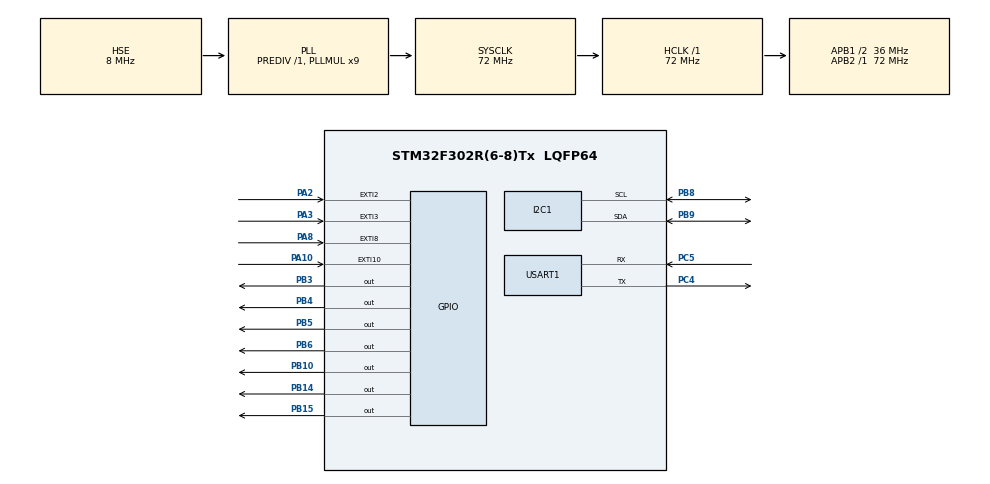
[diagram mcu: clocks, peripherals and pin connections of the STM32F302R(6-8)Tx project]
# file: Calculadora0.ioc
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Mcu.Family=STM32F3
Mcu.Name=STM32F302R(6-8)Tx
Mcu.Package=LQFP64
NVIC.PriorityGroup=NVIC_PRIORITYGROUP_0
PA10.Signal=GPXTI10
PA13.Mode=Serial_Wire
PA13.Signal=SYS_JTMS-SWDIO
PA14.Mode=Serial_Wire
PA14.Signal=SYS_JTCK-SWCLK
PA2.Signal=GPXTI2
PA3.Signal=GPXTI3
PA8.Signal=GPXTI8
PB10.Signal=GPIO_Output
PB14.Signal=GPIO_Output
PB15.Signal=GPIO_Output
PB3.Signal=GPIO_Output
PB4.Signal=GPIO_Output
PB5.Signal=GPIO_Output
PB6.Signal=GPIO_Output
PB8.Mode=I2C
PB8.Signal=I2C1_SCL
PB9.Mode=I2C
PB9.Signal=I2C1_SDA
PC14\ -\ OSC32_IN.Mode=LSE-External-Oscillator
PC14\ -\ OSC32_IN.Signal=RCC_OSC32_IN
PC15\ -\ OSC32_OUT.Mode=LSE-External-Oscillator
PC15\ -\ OSC32_OUT.Signal=RCC_OSC32_OUT
PC4.Mode=Asynchronous
PC4.Signal=USART1_TX
PC5.Mode=Asynchronous
PC5.Signal=USART1_RX
PF0-OSC_IN.Mode=HSE-External-Clock-Source
PF0-OSC_IN.Signal=RCC_OSC_IN
ProjectManager.HeapSize=0x200
ProjectManager.StackSize=0x400
ProjectManager.TargetToolchain=STM32CubeIDE
RCC.AHBFreq_Value=72000000
RCC.APB1CLKDivider=RCC_HCLK_DIV2
RCC.APB1Freq_Value=36000000
RCC.APB1TimFreq_Value=72000000
RCC.APB2Freq_Value=72000000
RCC.APB2TimFreq_Value=72000000
RCC.CortexFreq_Value=72000000
RCC.HCLKFreq_Value=72000000
RCC.HSE_VALUE=8000000
RCC.HSI_VALUE=8000000
RCC.PLLM=8
RCC.PLLMUL=RCC_PLL_MUL9
RCC.PLLN=336
RCC.PLLP=RCC_PLLP_DIV4
RCC.PLLQ=7
RCC.PLLSourceVirtual=RCC_PLLSOURCE_HSE
RCC.SYSCLKFreq_VALUE=72000000
RCC.SYSCLKSourceVirtual=RCC_SYSCLKSOURCE_PLLCLK
RCC.USBFreq_Value=72000000
USART1.VirtualMode-Asynchronous=VM_ASYNC
board=NUCLEO-F302R8

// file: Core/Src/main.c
/* USER CODE BEGIN Header */
/**
  ******************************************************************************
  * @file           : main.c
  * @brief          : Main program body
  ******************************************************************************
  * @attention
  *
  * Copyright (c) 2023 STMicroelectronics.
  * All rights reserved.
  *
  * This software is licensed under terms that can be found in the LICENSE file
  * in the root directory of this software component.
  * If no LICENSE file comes with this software, it is provided AS-IS.
  *
  ******************************************************************************
  */
/* USER CODE END Header */
#include "main.h"

/* USER CODE BEGIN Includes */
#include "i2c-lcd.h"
#include "max_matrix_stm32.h"
#include "stdio.h"
/* USER CODE END Includes */

I2C_HandleTypeDef hi2c1;

UART_HandleTypeDef huart1;

/* USER CODE BEGIN PV */
int number=0,bandera=0,a=0,b=0,reset=0,valor=0,resultado=0,cursor=0;
char operacion='\0',igual='\0',caracter[16],result[16];
/* USER CODE END PV */

void SystemClock_Config(void);
static void MX_GPIO_Init(void);
static void MX_I2C1_Init(void);
static void MX_USART1_UART_Init(void);

/* USER CODE BEGIN 0 */
//Entrada por teclado
void HAL_GPIO_EXTI_Rising_Callback (uint16_t GPIO_Pin)
{

valor=(GPIOA->IDR);
switch(valor)
{
case 17:
	number = ((number * 10) + 1);//concatenacion de los numeros

	break;
case 33:
	number = ((number * 10) + 2);

	break;
case 65:
	number = ((number * 10) + 3);

	break;
case 129:
	if (operacion=='\0')
	{
		operacion='+';
	}

	break;
case 18:
	number = ((number * 10) + 4);

	break;
case 34:
	number = ((number * 10) + 5);
	break;
case 66:
	number = ((number * 10) + 6);

	break;
case 130:

	if (operacion=='\0')
	{
		operacion='-';
	}
	break;
case 20:number = ((number * 10) + 7);
	break;

case 36:
	number = ((number * 10) + 8);

	break;
case 68:
	number = ((number * 10) + 9);

	break;
case 132:
	if (operacion=='\0')
	{
		operacion='*';
	}
	break;
case 24:
	if (operacion>=42&&operacion<=47)
	{
		igual='=';
	}
	break;
case 40:
	number = ((number * 10) + 0);

	break;
case 72:
	if (igual=='=') {
		reset=1;
	}

	break;
case 136:
	if (operacion=='\0')
	{
		operacion='/';
	}
	break;
}

//idea para evitar el rebote en prueba aun xd
/*while((GPIOB->IDR)>=16){

	  }*/
}

/* USER CODE END 0 */

int main(void)
{

  /* MCU Configuration--------------------------------------------------------*/

  /* Reset of all peripherals, Initializes the Flash interface and the Systick. */
  HAL_Init();

  /* Configure the system clock */
  SystemClock_Config();

  /* Initialize all configured peripherals */
  MX_GPIO_Init();
  MX_I2C1_Init();
  MX_USART1_UART_Init();
  /* USER CODE BEGIN 2 */
  lcd_init();
  max_init(0x02);
  /* USER CODE END 2 */

  /* Infinite loop */
  /* USER CODE BEGIN WHILE */
  while (1)
  {
	  //impresion de los valores de a y b
	 	  // y anulacion del rebote
	 	  if (valor!=0) {
	 		HAL_Delay(500);
	 		sprintf(caracter, "%i", number);
	 		lcd_put_cur(0,cursor);
	 		lcd_send_string(caracter);
	 		valor=0;
	 	}
	 	  //cambio de a y b
	 	  if ((operacion>=42&&operacion<=47)&&bandera==0)
	 	  {
	 		bandera=1;
	 		number=0;
	 		for (int var = 0; var < 16; ++var)//movimiento del cursor
	 		{
	 			if(caracter[var]!='\0')
	 			{
	 				cursor++;
	 			}
	 			else{
	 				break;
	 			}
	 		}
	 		for (int var = 0; var < 16; ++var)//limpiando el array del valor del numero
	 			{
	 				if(caracter[var]!='\0')
	 				{
	 					caracter[var]='\0';
	 				}
	 				else
	 				{
	 					break;
	 				}
	 			}
	 		//imprimiendo en la matrix led
	 		write_char(operacion,1);
	 		lcd_put_cur(0,cursor);
	 		lcd_send_data(operacion);
	 		cursor++;
	 	  }
	 	  if(bandera==0){//igualando a, a al numero entrante
	 		  a=number;
	 	  }
	 	  else if(igual=='\0')//igualando a, b al numero entrante
	 	  {
	 		  b=number;
	 	  }
	 	  if (reset==1)//Reiniciando el programa
	 	  {
	 		reset=0;
	 		a=0;
	 		b=0;
	 		number=0;
	 		operacion='\0';
	 		igual='\0';
	 		cursor=0;
	 		bandera=0;
	 		lcd_clear();
	 		max_clear();
	 	  }

	 	  if(igual=='='){//realizando operacion

	 	  switch (operacion) {
	 		case '+':
	 			resultado=a+b;
	 			break;
	 		case '-':
	 			resultado=a-b;
	 			break;
	 		case '*':
	 			resultado=a*b;
	 			break;
	 		case '/':
	 			resultado=a/b;
	 			break;
	 		default:
	 			break;
	 	}
	 	  //imprimiendo resultado
	 	  lcd_put_cur(1,0);
	 	  lcd_send_data('=');
	 	  sprintf(result, "%i", resultado);
	 	  lcd_put_cur(1,1);
	 	  lcd_send_string(result);
	 	  }

	 	 //Multiplexacion del keypad
	 	 	  HAL_GPIO_WritePin(GPIOB, GPIO_PIN_10, 1);
	 	 	  HAL_Delay(10);
	 	 	  HAL_GPIO_WritePin(GPIOB, GPIO_PIN_10, 0);

	 	 	  HAL_GPIO_WritePin(GPIOB, GPIO_PIN_4, 1);
	 	 	  HAL_Delay(10);
	 	 	  HAL_GPIO_WritePin(GPIOB, GPIO_PIN_4, 0);

	 	 	  HAL_GPIO_WritePin(GPIOB, GPIO_PIN_5, 1);
	 	 	  HAL_Delay(10);
	 	 	  HAL_GPIO_WritePin(GPIOB, GPIO_PIN_5, 0);

	 	 	  HAL_GPIO_WritePin(GPIOB, GPIO_PIN_3, 1);
	 	 	  HAL_Delay(10);
	 	 	  HAL_GPIO_WritePin(GPIOB, GPIO_PIN_3, 0);

    /* USER CODE END WHILE */

  }
}

void SystemClock_Config(void)
{
  RCC_OscInitTypeDef RCC_OscInitStruct = {0};
  RCC_ClkInitTypeDef RCC_ClkInitStruct = {0};
  RCC_PeriphCLKInitTypeDef PeriphClkInit = {0};

  /** Initializes the RCC Oscillators according to the specified parameters
  * in the RCC_OscInitTypeDef structure.
  */
  RCC_OscInitStruct.OscillatorType = RCC_OSCILLATORTYPE_HSI|RCC_OSCILLATORTYPE_HSE;
  RCC_OscInitStruct.HSEState = RCC_HSE_BYPASS;
  RCC_OscInitStruct.HSEPredivValue = RCC_HSE_PREDIV_DIV1;
  RCC_OscInitStruct.HSIState = RCC_HSI_ON;
  RCC_OscInitStruct.HSICalibrationValue = RCC_HSICALIBRATION_DEFAULT;
  RCC_OscInitStruct.PLL.PLLState = RCC_PLL_ON;
  RCC_OscInitStruct.PLL.PLLSource = RCC_PLLSOURCE_HSE;
  RCC_OscInitStruct.PLL.PLLMUL = RCC_PLL_MUL9;
  if (HAL_RCC_OscConfig(&RCC_OscInitStruct) != HAL_OK)
  {
    Error_Handler();
  }

  /** Initializes the CPU, AHB and APB buses clocks
  */
  RCC_ClkInitStruct.ClockType = RCC_CLOCKTYPE_HCLK|RCC_CLOCKTYPE_SYSCLK
                              |RCC_CLOCKTYPE_PCLK1|RCC_CLOCKTYPE_PCLK2;
  RCC_ClkInitStruct.SYSCLKSource = RCC_SYSCLKSOURCE_PLLCLK;
  RCC_ClkInitStruct.AHBCLKDivider = RCC_SYSCLK_DIV1;
  RCC_ClkInitStruct.APB1CLKDivider = RCC_HCLK_DIV2;
  RCC_ClkInitStruct.APB2CLKDivider = RCC_HCLK_DIV1;

  if (HAL_RCC_ClockConfig(&RCC_ClkInitStruct, FLASH_LATENCY_2) != HAL_OK)
  {
    Error_Handler();
  }
  PeriphClkInit.PeriphClockSelection = RCC_PERIPHCLK_USART1|RCC_PERIPHCLK_I2C1;
  PeriphClkInit.Usart1ClockSelection = RCC_USART1CLKSOURCE_PCLK1;
  PeriphClkInit.I2c1ClockSelection = RCC_I2C1CLKSOURCE_HSI;
  if (HAL_RCCEx_PeriphCLKConfig(&PeriphClkInit) != HAL_OK)
  {
    Error_Handler();
  }
}

static void MX_I2C1_Init(void)
{

  hi2c1.Instance = I2C1;
  hi2c1.Init.Timing = 0x2000090E;
  hi2c1.Init.OwnAddress1 = 0;
  hi2c1.Init.AddressingMode = I2C_ADDRESSINGMODE_7BIT;
  hi2c1.Init.DualAddressMode = I2C_DUALADDRESS_DISABLE;
  hi2c1.Init.OwnAddress2 = 0;
  hi2c1.Init.OwnAddress2Masks = I2C_OA2_NOMASK;
  hi2c1.Init.GeneralCallMode = I2C_GENERALCALL_DISABLE;
  hi2c1.Init.NoStretchMode = I2C_NOSTRETCH_DISABLE;
  if (HAL_I2C_Init(&hi2c1) != HAL_OK)
  {
    Error_Handler();
  }

  /** Configure Analogue filter
  */
  if (HAL_I2CEx_ConfigAnalogFilter(&hi2c1, I2C_ANALOGFILTER_ENABLE) != HAL_OK)
  {
    Error_Handler();
  }

  /** Configure Digital filter
  */
  if (HAL_I2CEx_ConfigDigitalFilter(&hi2c1, 0) != HAL_OK)
  {
    Error_Handler();
  }

}

static void MX_USART1_UART_Init(void)
{

  huart1.Instance = USART1;
  huart1.Init.BaudRate = 38400;
  huart1.Init.WordLength = UART_WORDLENGTH_8B;
  huart1.Init.StopBits = UART_STOPBITS_1;
  huart1.Init.Parity = UART_PARITY_NONE;
  huart1.Init.Mode = UART_MODE_TX_RX;
  huart1.Init.HwFlowCtl = UART_HWCONTROL_NONE;
  huart1.Init.OverSampling = UART_OVERSAMPLING_16;
  huart1.Init.OneBitSampling = UART_ONE_BIT_SAMPLE_DISABLE;
  huart1.AdvancedInit.AdvFeatureInit = UART_ADVFEATURE_NO_INIT;
  if (HAL_UART_Init(&huart1) != HAL_OK)
  {
    Error_Handler();
  }

}

static void MX_GPIO_Init(void)
{
  GPIO_InitTypeDef GPIO_InitStruct = {0};

  /* GPIO Ports Clock Enable */
  __HAL_RCC_GPIOC_CLK_ENABLE();
  __HAL_RCC_GPIOF_CLK_ENABLE();
  __HAL_RCC_GPIOA_CLK_ENABLE();
  __HAL_RCC_GPIOB_CLK_ENABLE();

  /*Configure GPIO pin Output Level */
  HAL_GPIO_WritePin(GPIOB, GPIO_PIN_10|GPIO_PIN_14|GPIO_PIN_15|GPIO_PIN_3
                          |GPIO_PIN_4|GPIO_PIN_5|GPIO_PIN_6, GPIO_PIN_RESET);

  /*Configure GPIO pins : PA2 PA3 PA8 PA10 */
  GPIO_InitStruct.Pin = GPIO_PIN_2|GPIO_PIN_3|GPIO_PIN_8|GPIO_PIN_10;
  GPIO_InitStruct.Mode = GPIO_MODE_IT_RISING;
  GPIO_InitStruct.Pull = GPIO_NOPULL;
  HAL_GPIO_Init(GPIOA, &GPIO_InitStruct);

  /*Configure GPIO pins : PB10 PB14 PB15 PB3
                           PB4 PB5 PB6 */
  GPIO_InitStruct.Pin = GPIO_PIN_10|GPIO_PIN_14|GPIO_PIN_15|GPIO_PIN_3
                          |GPIO_PIN_4|GPIO_PIN_5|GPIO_PIN_6;
  GPIO_InitStruct.Mode = GPIO_MODE_OUTPUT_PP;
  GPIO_InitStruct.Pull = GPIO_NOPULL;
  GPIO_InitStruct.Speed = GPIO_SPEED_FREQ_LOW;
  HAL_GPIO_Init(GPIOB, &GPIO_InitStruct);

}

void Error_Handler(void)
{
  __disable_irq();
  while (1)
  {
  }
}
